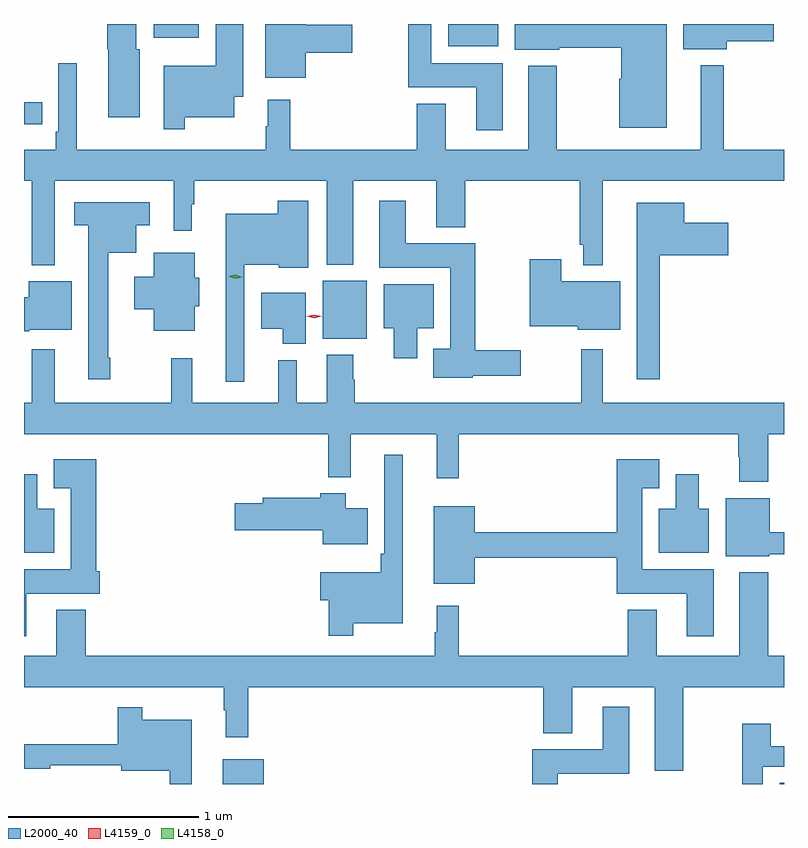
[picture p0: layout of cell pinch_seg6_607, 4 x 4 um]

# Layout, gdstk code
import gdstk
lib = gdstk.Library(unit=1e-6, precision=1e-09)
def R(c, l, rs):  # rectangles x0, y0, x1, y1
    for r in rs: c.add(gdstk.rectangle(r[:2], r[2:], *l))
def P(c, l, *ps):  # polygons
    for p in ps: c.add(gdstk.Polygon(p, *l))
L2000_40 = (2000, 40)
L4158_0 = (4158, 0)
L4159_0 = (4159, 0)

pinch_seg6_607 = lib.new_cell('pinch_seg6_607')
R(pinch_seg6_607, L2000_40, [(495.833,972.134,496.048,972.265), (498.764,972.134,498.786,972.14), (496.358,974.477,496.591,974.782), (494.786,975.606,494.882,975.722), (497.018,976.016,497.281,976.134), (495.47,976.061,495.706,976.134)])
P(pinch_seg6_607, L2000_40, [(496.27,975.983),(496.513,975.983),(496.513,976.13),(496.27,976.13),(496.27,976.134),(496.055,976.134),(496.055,975.851),(496.27,975.851)],
  [(498.169,976.134),(497.369,976.134),(497.369,975.998),(497.602,975.998),(497.602,976.009),(497.93,976.009),(497.93,975.846),(497.918,975.846),(497.918,975.587),(498.169,975.587)],
  [(498.484,976.043),(498.733,976.043),(498.733,976.134),(498.257,976.134),(498.257,976.001),(498.484,976.001)],
  [(497.305,975.928),(496.93,975.928),(496.93,976.134),(496.808,976.134),(496.808,975.8),(497.165,975.8),(497.165,975.576),(497.305,975.576)],
  [(495.631,975.644),(495.892,975.644),(495.892,975.752),(495.94,975.752),(495.94,976.132),(495.892,976.132),(495.892,976.134),(495.795,976.134),(495.795,975.913),(495.522,975.913),(495.522,975.579),(495.631,975.579)],
  [(495.394,976.002),(495.376,976.002),(495.376,976.134),(495.223,976.134),(495.223,976.002),(495.23,976.002),(495.23,975.644),(495.394,975.644)],
  [(494.947,975.308),(495.573,975.308),(495.573,975.045),(495.67,975.045),(495.67,975.185),(495.682,975.185),(495.682,975.308),(496.379,975.308),(496.379,974.867),(496.519,974.867),(496.519,975.308),(496.955,975.308),(496.955,975.065),(497.108,975.065),(497.108,975.308),(497.712,975.308),(497.712,974.971),(497.729,974.971),(497.729,974.864),(497.833,974.864),(497.833,975.308),(498.786,975.308),(498.786,975.472),(498.469,975.472),(498.469,975.916),(498.347,975.916),(498.347,975.472),(497.589,975.472),(497.589,975.913),(497.441,975.913),(497.441,975.472),(497.005,975.472),(497.005,975.715),(496.853,975.715),(496.853,975.472),(496.187,975.472),(496.187,975.736),(496.07,975.736),(496.07,975.596),(496.059,975.596),(496.059,975.472),(495.064,975.472),(495.064,975.928),(494.967,975.928),(494.967,975.568),(494.954,975.568),(494.954,975.472),(494.786,975.472),(494.786,975.308),(494.826,975.308),(494.826,974.864),(494.947,974.864)],
  [(497.148,974.282),(497.401,974.282),(497.401,974.417),(497.16,974.417),(497.16,974.98),(496.795,974.98),(496.795,975.205),(496.655,975.205),(496.655,974.852),(497.03,974.852),(497.03,974.425),(496.94,974.425),(496.94,974.273),(497.148,974.273)],
  [(495.945,974.867),(496.128,974.867),(496.128,974.852),(496.282,974.852),(496.282,975.205),(496.121,975.205),(496.121,975.136),(495.848,975.136),(495.848,974.25),(495.945,974.25)],
  [(495.239,974.377),(495.229,974.377),(495.229,974.93),(495.376,974.93),(495.376,975.074),(495.448,975.074),(495.448,975.196),(495.051,975.196),(495.051,975.074),(495.125,975.074),(495.125,974.265),(495.239,974.265)],
  [(498.133,974.918),(498.493,974.918),(498.493,975.088),(498.262,975.088),(498.262,975.193),(498.011,975.193),(498.011,974.265),(498.133,974.265)],
  [(495.685,974.649),(495.709,974.649),(495.709,974.799),(495.685,974.799),(495.685,974.929),(495.47,974.929),(495.47,974.803),(495.365,974.803),(495.365,974.633),(495.47,974.633),(495.47,974.519),(495.685,974.519)],
  [(497.923,974.779),(497.614,974.779),(497.614,974.896),(497.449,974.896),(497.449,974.543),(497.7,974.543),(497.7,974.525),(497.923,974.525)],
  [(494.814,974.525),(495.037,974.525),(495.037,974.779),(494.81,974.779),(494.81,974.696),(494.786,974.696),(494.786,974.518),(494.814,974.518)],
  [(496.855,974.534),(496.942,974.534),(496.942,974.764),(496.679,974.764),(496.679,974.534),(496.733,974.534),(496.733,974.376),(496.855,974.376)],
  [(496.27,974.719),(496.034,974.719),(496.034,974.531),(496.148,974.531),(496.148,974.45),(496.27,974.45)],
  [(498.704,973.976),(498.786,973.976),(498.786,974.14),(497.833,974.14),(497.833,974.422),(497.719,974.422),(497.719,974.14),(496.527,974.14),(496.527,974.261),(496.519,974.261),(496.519,974.392),(496.379,974.392),(496.379,974.14),(496.222,974.14),(496.222,974.365),(496.124,974.365),(496.124,974.14),(495.671,974.14),(495.671,974.374),(495.561,974.374),(495.561,974.14),(494.947,974.14),(494.947,974.422),(494.826,974.422),(494.826,974.14),(494.786,974.14),(494.786,973.976),(496.387,973.976),(496.387,973.748),(496.505,973.748),(496.505,973.976),(496.958,973.976),(496.958,973.743),(497.075,973.743),(497.075,973.976),(498.544,973.976),(498.544,973.856),(498.551,973.856),(498.551,973.724),(498.704,973.724)],
  [(496.519,972.98),(496.78,972.98),(496.78,973.867),(496.683,973.867),(496.683,973.345),(496.663,973.345),(496.663,973.249),(496.346,973.249),(496.346,973.102),(496.39,973.102),(496.39,972.915),(496.519,972.915)],
  [(494.797,973.136),(495.185,973.136),(495.185,973.254),(495.167,973.254),(495.167,973.843),(494.942,973.843),(494.942,973.691),(495.032,973.691),(495.032,973.264),(494.786,973.264),(494.786,972.912),(494.797,972.912)],
  [(498.415,973.264),(498.04,973.264),(498.04,973.691),(498.13,973.691),(498.13,973.843),(497.906,973.843),(497.906,973.46),(497.158,973.46),(497.158,973.597),(496.943,973.597),(496.943,973.187),(497.158,973.187),(497.158,973.324),(497.906,973.324),(497.906,973.136),(498.275,973.136),(498.275,972.912),(498.415,972.912)],
  [(494.944,973.582),(494.857,973.582),(494.857,973.765),(494.786,973.765),(494.786,973.352),(494.944,973.352)],
  [(498.391,973.582),(498.337,973.582),(498.337,973.765),(498.215,973.765),(498.215,973.582),(498.128,973.582),(498.128,973.352),(498.391,973.352)],
  [(496.594,973.585),(496.48,973.585),(496.48,973.663),(496.346,973.663),(496.346,973.641),(496.043,973.641),(496.043,973.611),(495.894,973.611),(495.894,973.469),(496.358,973.469),(496.358,973.397),(496.594,973.397)],
  [(498.708,973.344),(498.786,973.344),(498.786,973.46),(498.712,973.46),(498.712,973.639),(498.479,973.639),(498.479,973.334),(498.708,973.334)],
  [(498.255,972.644),(498.786,972.644),(498.786,972.808),(498.704,972.808),(498.704,973.249),(498.551,973.249),(498.551,972.808),(498.115,972.808),(498.115,973.051),(497.963,973.051),(497.963,972.808),(497.075,972.808),(497.075,973.072),(496.958,973.072),(496.958,972.932),(496.947,972.932),(496.947,972.808),(495.11,972.808),(495.11,973.051),(494.957,973.051),(494.957,972.808),(494.786,972.808),(494.786,972.644),(495.837,972.644),(495.837,972.521),(495.848,972.521),(495.848,972.381),(495.965,972.381),(495.965,972.644),(497.519,972.644),(497.519,972.401),(497.671,972.401),(497.671,972.644),(498.107,972.644),(498.107,972.203),(498.255,972.203)],
  [(497.596,972.188),(497.971,972.188),(497.971,972.541),(497.831,972.541),(497.831,972.316),(497.462,972.316),(497.462,972.134),(497.596,972.134)],
  [(495.67,972.472),(495.409,972.472),(495.409,972.538),(495.28,972.538),(495.28,972.343),(494.786,972.343),(494.786,972.214),(494.924,972.214),(494.924,972.233),(495.299,972.233),(495.299,972.203),(495.553,972.203),(495.553,972.134),(495.67,972.134)],
  [(498.675,972.225),(498.786,972.225),(498.786,972.334),(498.715,972.334),(498.715,972.451),(498.567,972.451),(498.567,972.134),(498.675,972.134)])
P(pinch_seg6_607, L4158_0, [(495.898,974.794),(495.863,974.806),(495.863,974.806),(495.863,974.807),(495.899,974.814),(495.934,974.801),(495.934,974.801),(495.934,974.801)])
P(pinch_seg6_607, L4159_0, [(496.313,974.585),(496.274,974.595),(496.274,974.595),(496.274,974.595),(496.313,974.605),(496.352,974.595),(496.352,974.595),(496.352,974.595)])

lib.write_gds('pinch_seg6_607.gds')
